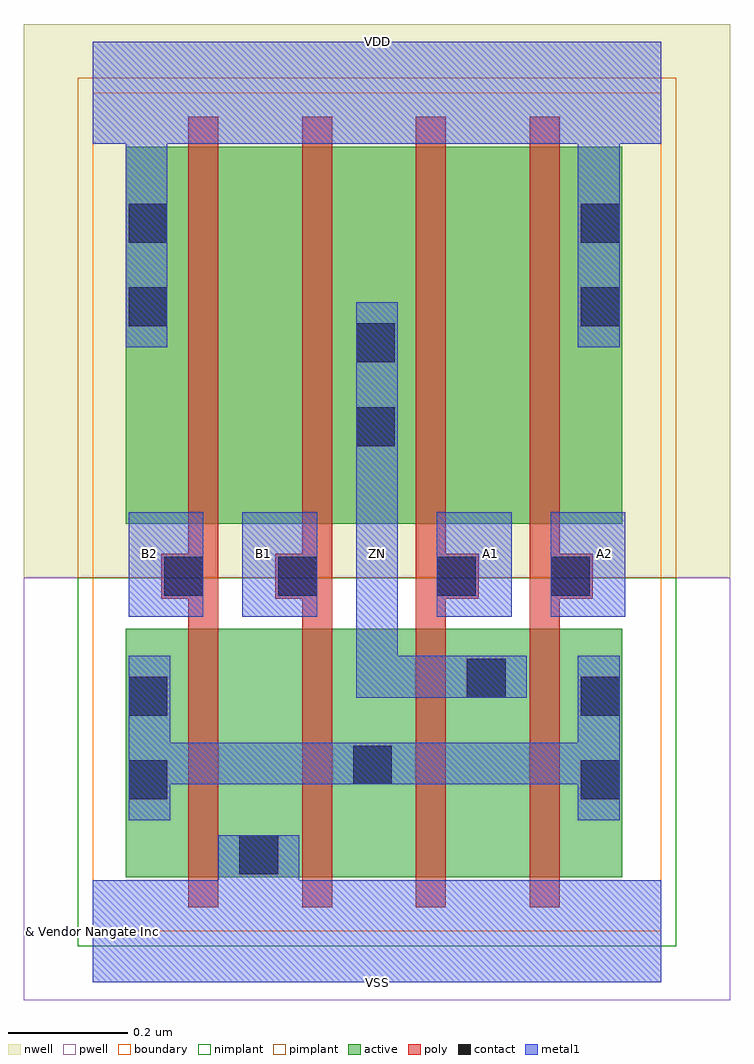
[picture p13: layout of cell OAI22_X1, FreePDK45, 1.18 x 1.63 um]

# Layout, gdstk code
import gdstk
lib = gdstk.Library(unit=1e-6, precision=1e-10)
def R(c, l, rs):  # rectangles x0, y0, x1, y1
    for r in rs: c.add(gdstk.rectangle(r[:2], r[2:], *l))
def P(c, l, *ps):  # polygons
    for p in ps: c.add(gdstk.Polygon(p, *l))
active = (1, 0)
pwell = (2, 0)
nwell = (3, 0)
nimplant = (4, 0)
pimplant = (5, 0)
poly = (9, 0)
contact = (10, 0)
metal1 = (11, 0)
boundary = (235, 0)

oai22_x1 = lib.new_cell('OAI22_X1')
R(oai22_x1, active, [(0.055,0.09,0.885,0.505), (0.055,0.68,0.885,1.31)])
R(oai22_x1, pwell, [(-0.115,-0.115,1.065,0.59)])
R(oai22_x1, nwell, [(-0.115,0.59,1.065,1.515)])
R(oai22_x1, nimplant, [(-0.025,-0.025,0.975,0.59)])
R(oai22_x1, pimplant, [(-0.025,0.59,0.975,1.425)])
P(oai22_x1, poly, [(0.16,0.04),(0.16,0.555),(0.115,0.555),(0.115,0.63),(0.16,0.63),(0.16,1.36),(0.21,1.36),(0.21,0.04)],
  [(0.35,0.04),(0.35,0.555),(0.305,0.555),(0.305,0.63),(0.35,0.63),(0.35,1.36),(0.4,1.36),(0.4,0.04)],
  [(0.54,0.04),(0.54,1.36),(0.59,1.36),(0.59,0.63),(0.645,0.63),(0.645,0.555),(0.59,0.555),(0.59,0.04)],
  [(0.73,0.04),(0.73,1.36),(0.78,1.36),(0.78,0.63),(0.835,0.63),(0.835,0.555),(0.78,0.555),(0.78,0.04)])
R(oai22_x1, contact, [(0.245,0.095,0.31,0.16), (0.06,0.22,0.125,0.285), (0.815,0.22,0.88,0.285), (0.435,0.245,0.5,0.31), (0.06,0.36,0.125,0.425), (0.815,0.36,0.88,0.425), (0.625,0.39,0.69,0.455), (0.12,0.56,0.185,0.625), (0.31,0.56,0.375,0.625), (0.575,0.56,0.64,0.625), (0.765,0.56,0.83,0.625), (0.44,0.81,0.505,0.875), (0.44,0.95,0.505,1.015), (0.06,1.01,0.125,1.075), (0.815,1.01,0.88,1.075), (0.06,1.15,0.125,1.215), (0.815,1.15,0.88,1.215)])
R(oai22_x1, metal1, [(0.06,0.525,0.185,0.7), (0.25,0.525,0.375,0.7), (0.575,0.525,0.7,0.7), (0.765,0.525,0.89,0.7)])
P(oai22_x1, metal1, [(0.44,0.39),(0.44,1.05),(0.51,1.05),(0.51,0.46),(0.725,0.46),(0.725,0.39)],
  [(0.06,0.185),(0.06,0.46),(0.13,0.46),(0.13,0.315),(0.81,0.315),(0.81,0.46),(0.88,0.46),(0.88,0.185),(0.81,0.185),(0.81,0.245),(0.13,0.245),(0.13,0.185)],
  [(0,-0.085),(0,0.085),(0.21,0.085),(0.21,0.16),(0.345,0.16),(0.345,0.085),(0.95,0.085),(0.95,-0.085)],
  [(0.055,0.975),(0.055,1.315),(0,1.315),(0,1.485),(0.95,1.485),(0.95,1.315),(0.88,1.315),(0.88,0.975),(0.81,0.975),(0.81,1.315),(0.125,1.315),(0.125,0.975)])
R(oai22_x1, boundary, [(0,0,0.95,1.4)])
oai22_x1.add(gdstk.Label('A1', (0.665,0.63), layer=11, texttype=0))
oai22_x1.add(gdstk.Label('A2', (0.855,0.63), layer=11, texttype=0))
oai22_x1.add(gdstk.Label('B1', (0.285,0.63), layer=11, texttype=0))
oai22_x1.add(gdstk.Label('B2', (0.095,0.63), layer=11, texttype=0))
oai22_x1.add(gdstk.Label('VDD', (0.475,1.485), layer=11, texttype=0))
oai22_x1.add(gdstk.Label('VSS', (0.475,-0.085), layer=11, texttype=0))
oai22_x1.add(gdstk.Label('ZN', (0.475,0.63), layer=11, texttype=0))
oai22_x1.add(gdstk.Label('& Vendor Nangate Inc', (0,0), layer=63, texttype=63))
oai22_x1.add(gdstk.Label('& Product Open Cell Library', (0,0), layer=63, texttype=63))
oai22_x1.add(gdstk.Label('& Version 2010_12', (0,0), layer=63, texttype=63))
oai22_x1.add(gdstk.Label('& Instance OAI22_X1', (0,0), layer=63, texttype=63))

lib.write_gds('OAI22_X1.gds')
